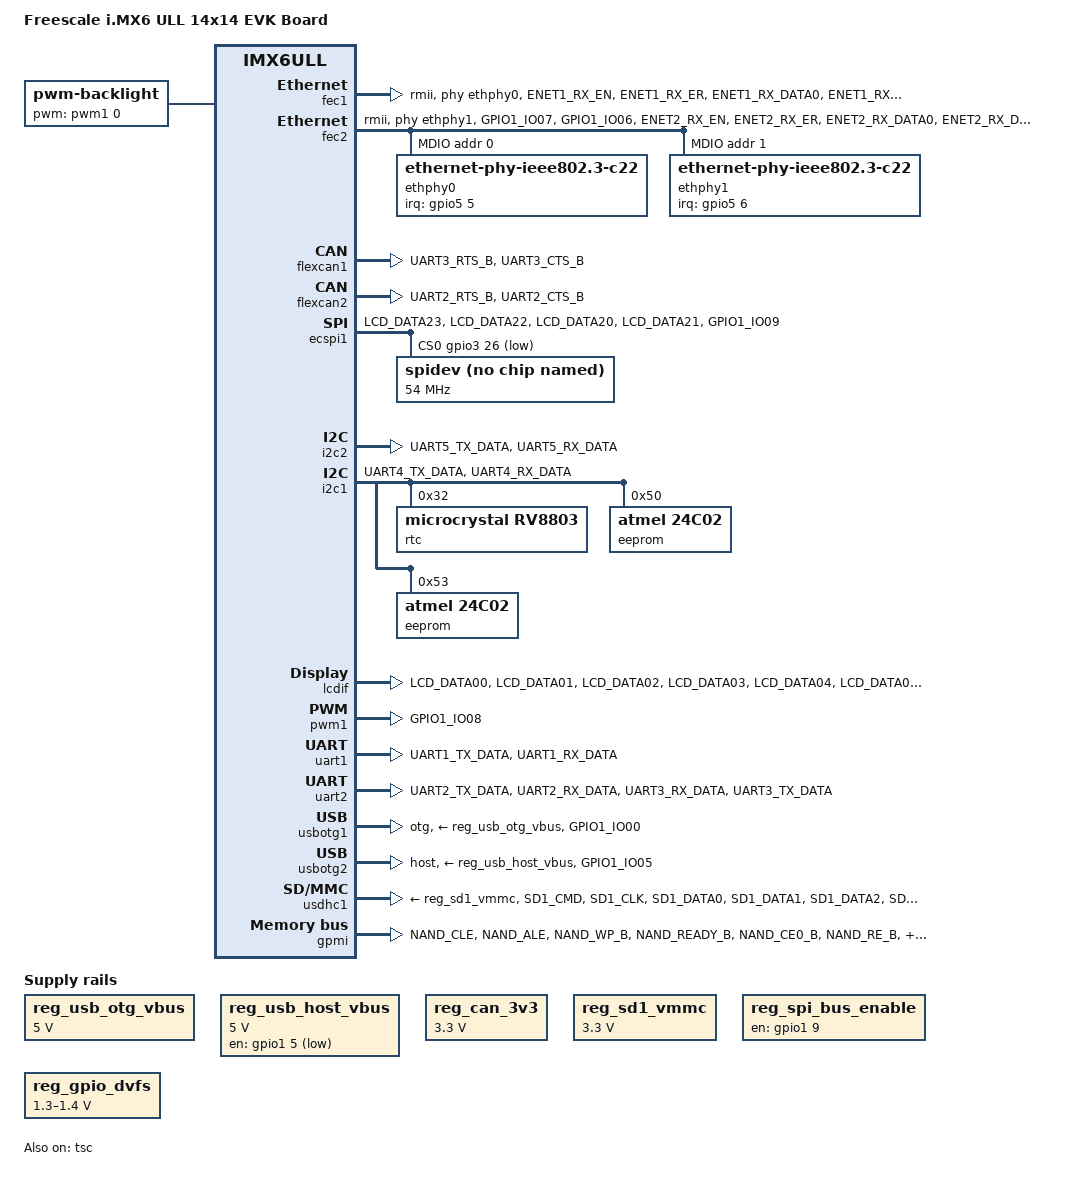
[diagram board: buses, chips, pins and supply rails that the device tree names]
/*
 * Copyright (C) 2016 Freescale Semiconductor, Inc.
 *
 * This program is free software; you can redistribute it and/or modify
 * it under the terms of the GNU General Public License version 2 as
 * published by the Free Software Foundation.
 */

/dts-v1/;

#include <dt-bindings/input/input.h>
#include "imx6ull.dtsi"

/ {
	model = "Freescale i.MX6 ULL 14x14 EVK Board";
	compatible = "fsl,imx6ull-14x14-evk", "fsl,imx6ull";

	chosen {
		stdout-path = &uart1;
	};

	memory {
		reg = <0 0>;							// Will be filled by uboot
	};

	reserved-memory {
		#address-cells = <1>;
		#size-cells = <1>;
		ranges;

		linux,cma {
			compatible = "shared-dma-pool";
			reusable;
			size = <0x14000000>;
			linux,cma-default;
		};
	};

	backlight {
		compatible = "pwm-backlight";
		pwms = <&pwm1 0 5000000>;
		brightness-levels = <0 4 8 16 32 64 128 255>;
		default-brightness-level = <6>;
		status = "okay";
	};

	regulators {
		compatible = "simple-bus";
		#address-cells = <1>;
		#size-cells = <0>;

		reg_usb_otg_vbus: usb_otg_vbus {
			compatible = "regulator-fixed";
			regulator-name = "usb_otg_vbus";
			regulator-min-microvolt = <5000000>;
			regulator-max-microvolt = <5000000>;
		};

		reg_usb_host_vbus: usb_host_vbus {
			compatible = "regulator-fixed";
			regulator-name = "usb_host_vbus";
			regulator-min-microvolt = <5000000>;
			regulator-max-microvolt = <5000000>;
			gpio = <&gpio1 5 GPIO_ACTIVE_LOW>;
		};

		reg_can_3v3: regulator@0 {
			compatible = "regulator-fixed";
			reg = <0>;
			regulator-name = "can-3v3";
			regulator-min-microvolt = <3300000>;
			regulator-max-microvolt = <3300000>;
		};

		reg_sd1_vmmc: regulator@1 {
			compatible = "regulator-fixed";
			regulator-name = "VSD_3V3";
			regulator-min-microvolt = <3300000>;
			regulator-max-microvolt = <3300000>;
		//	gpio = <&gpio1 9 GPIO_ACTIVE_HIGH>;
		//	enable-active-high;
		};

		reg_spi_bus_enable: spi_bus_enable {				// Pin SPI_BOOT_FLASH_EN (1.9) = HIGH means
			compatible = "regulator-fixed";				// SPI boot flash => non-accessible
			regulator-name = "spi_bus_enable";			// SPI bus        =>     accessible
			gpio = <&gpio1 9 GPIO_ACTIVE_HIGH>;
			enable-active-high;
			regulator-always-on;
		};

/*		reg_boot_flash_enable: spi_boot_flash_enable {			// Pin SPI_BOOT_FLASH_EN (1.9) = LOW means
			compatible = "regulator-fixed";				// SPI boot flash =>     accessible
			regulator-name = "spi_boot_flash_enable";		// SPI bus        => non-accessible
			gpio = <&gpio1 9 GPIO_ACTIVE_LOW>;
			regulator-always-on;
		};*/

		reg_gpio_dvfs: regulator-gpio {
			compatible = "regulator-gpio";
			pinctrl-names = "default";
			pinctrl-0 = <&pinctrl_dvfs>;
			regulator-min-microvolt = <1300000>;
			regulator-max-microvolt = <1400000>;
			regulator-name = "gpio_dvfs";
			regulator-type = "voltage";
			gpios = <&gpio5 3 GPIO_ACTIVE_HIGH>;
			states = <1300000 0x1 1400000 0x0>;
		};
	};
};

&cpu0 {
	arm-supply = <&reg_arm>;
	soc-supply = <&reg_soc>;
	dc-supply = <&reg_gpio_dvfs>;
};

&gpio1 {		/* 0      1      2      3      4      5      6      7  */
	gpio-line-names =  ""   , ""   , ""   , ""   , ""   , ""   , ""   , ""   ,
			/* 8      9      10     11     12     13     14     15 */
			   ""   , ""   , ""   , "INT", ""   , ""   , ""   , ""   ,
			/* 16     17     18     19     20     21     22     23 */
			   ""   , ""   , "I"  , ""   , ""   , ""   , ""   , ""   ,
			/* 24     25     26     27     28     29     30     31 */
			   ""   , ""   , ""   , ""   , ""   , ""   , ""   , ""   ;
};

&gpio2 {		/* 0      1      2      3      4      5      6      7  */
	gpio-line-names =  ""   , ""   , ""   , ""   , ""   , ""   , ""   , ""   ,
			/* 8      9      10     11     12     13     14     15 */
			   ""   , ""   , ""   , ""   , ""   , ""   , ""   , ""   ,
			/* 16     17     18     19     20     21     22     23 */
			   ""   , ""   , ""   , ""   , ""   , ""   , ""   , ""   ,
			/* 24     25     26     27     28     29     30     31 */
			   ""   , ""   , ""   , ""   , ""   , ""   , ""   , ""   ;
};

&gpio3 {		/* 0      1      2      3      4      5      6      7  */
	gpio-line-names =  ""   , ""   , ""   , ""   , ""   , ""   , ""   , ""   ,
			/* 8      9      10     11     12     13     14     15 */
			   ""   , ""   , ""   , ""   , ""   , ""   , ""   , ""   ,
			/* 16     17     18     19     20     21     22     23 */
			   ""   , ""   , ""   , ""   , ""   , ""   , ""   , ""   ,
			/* 24     25     26     27     28     29     30     31 */
			   ""   , ""   , ""   , ""   , ""   , ""   , ""   , ""   ;
};

&gpio4 {		/* 0      1      2      3      4      5      6      7  */
	gpio-line-names =  ""   , ""   , ""   , ""   , ""   , ""   , "",    ""   ,
			/* 8      9      10     11     12     13     14     15 */
			   ""   , ""   , ""   , ""   , ""   , ""   , ""   , ""   ,
			/* 16     17     18     19     20     21     22     23 */
			   ""   , "L"  , "K"  , "M"  , "J"  , "U"  , "T"  , "S"  ,
			/* 24     25     26     27     28     29     30     31 */
			   "R"  , "Q"  , "P"  , "O"  , "N"  , ""   , ""   , ""   ;
};

&gpio5 {		/* 0      1      2      3      4      5      6      7  */
	gpio-line-names =  "A"  , "B"  , "C"  , "D"  , "E"  , ""   , ""   , "F"  ,
			/* 8      9      10     11     12     13     14     15 */
			   "G"  , "H"  , ""   , ""   , ""   , ""   , ""   , ""   ,
			/* 16     17     18     19     20     21     22     23 */
			   ""   , ""   , ""   , ""   , ""   , ""   , ""   , ""   ,
			/* 24     25     26     27     28     29     30     31 */
			   ""   , ""   , ""   , ""   , ""   , ""   , ""   , ""   ;
};

&clks {
	assigned-clocks = <&clks IMX6UL_CLK_PLL4_AUDIO_DIV>;
	assigned-clock-rates = <786432000>;
};

&fec1 {
	pinctrl-names = "default";
	pinctrl-0 = <&pinctrl_enet1>;
	phy-mode = "rmii";
	phy-reset-gpios = <&gpio3 23 GPIO_ACTIVE_LOW>;
	phy-reset-duration = <1>;
	phy-reset-post-delay = <10>;
	phy-handle = <&ethphy0>;
	status = "okay";
};

&fec2 {
	pinctrl-names = "default";
	pinctrl-0 = <&pinctrl_enet2>;
	phy-mode = "rmii";
	phy-reset-gpios = <&gpio3 24 GPIO_ACTIVE_LOW>;
	phy-reset-duration = <1>;
	phy-reset-post-delay = <10>;
	phy-handle = <&ethphy1>;
	status = "okay";

	mdio {
		#address-cells = <1>;
		#size-cells = <0>;

		ethphy0: ethernet-phy@0 {
			pinctrl-names = "default";
			pinctrl-0 = <&pinctrl_enetphy0>;
			compatible = "ethernet-phy-ieee802.3-c22";
			reg = <0>;
			clocks = <&clks IMX6UL_CLK_ENET_REF>;
			clock-names = "rmii-ref";
			max-speed = <100>;
			interrupt-parent = <&gpio5>;
			interrupts = <5 IRQ_TYPE_EDGE_FALLING>;
			status = "okay";
		};

		ethphy1: ethernet-phy@1 {
			pinctrl-names = "default";
			pinctrl-0 = <&pinctrl_enetphy1>;
			compatible = "ethernet-phy-ieee802.3-c22";
			reg = <1>;
			clocks = <&clks IMX6UL_CLK_ENET2_REF>;
			clock-names = "rmii-ref";
			interrupt-parent = <&gpio5>;
			interrupts = <6 IRQ_TYPE_EDGE_FALLING>;
			max-speed = <100>;
			status = "okay";
		};
	};
};

&flexcan1 {
	pinctrl-names = "default";
	pinctrl-0 = <&pinctrl_flexcan1>;
	status = "okay";
};

&flexcan2 {
	pinctrl-names = "default";
	pinctrl-0 = <&pinctrl_flexcan2>;
	status = "okay";
};

&gpc {
	fsl,cpu_pupscr_sw2iso = <0x1>;
	fsl,cpu_pupscr_sw = <0x0>;
	fsl,cpu_pdnscr_iso2sw = <0x1>;
	fsl,cpu_pdnscr_iso = <0x1>;
	fsl,ldo-bypass = <0>; /* DCDC, ldo-enable */
};

&ecspi1 {									// ********** SPI 1 **********
	fsl,spi-num-chipselects = <1>;
	cs-gpios = <&gpio3 26 1>;
	pinctrl-names = "default";
	pinctrl-0 = <&pinctrl_ecspi1>;
	power-supply = <&reg_spi_bus_enable>;
	status = "okay";

	spidev@0 {								// ==> /dev/spidev0.0
		compatible =  "spidev", "fsl,ecspi";
		reg = <0>;							// SS0
		spi-max-frequency = <54000000>;
		spi-cpha;							// Shifted clock phase (CPHA) mode
		spi-cpol;							// Inverse clock polarity (CPOL) mode
	};
};

/*
&ecspi1 {									// ********** SPI 1 **********
	fsl,spi-num-chipselects = <1>;
	cs-gpios = <&gpio4 26 1>;
	pinctrl-names = "default";
	pinctrl-0 = <&pinctrl_ecspi1_boot_flash>;
	power-supply = <&reg_boot_flash_enable>;
	status = "okay";

	w25q16@0 {
		#address-cells = <1>;
		#size-cells = <1>;
		compatible = "winbond,w25q16", "jedec,spi-nor";
		spi-max-frequency = <50000000>;
		reg = <0>;
		m25p,fast-read;
		label = "spi_boot_flash";
	};
};*/

// DHCOM I2C1
&i2c2 {
	clock_frequency = <100000>;
	pinctrl-names = "default";
	pinctrl-0 = <&pinctrl_i2c2>;
	status = "okay";

	gpio_spi: gpio_spi@0 {
		compatible = "fairchild,74hc595";
		gpio-controller;
		#gpio-cells = <2>;
		reg = <0>;
		registers-number = <1>;
		registers-default = /bits/ 8 <0x57>;
		spi-max-frequency = <100000>;
		status = "disabled";
	};
};

// DHCOM I2C2
&i2c1 {
	clock_frequency = <100000>;
	pinctrl-names = "default";
	pinctrl-0 = <&pinctrl_i2c1>;
	status = "okay";

	rtc: rtc@32 {
		compatible = "microcrystal,rv8803";
		reg = <0x32>;
	};

	eeprom@50 {								// EEPROM Microchip 24AA025E48T-I/OT
		compatible = "atmel,24c02";
		reg = <0x50>;
		pagesize = <16>;
	};

	eeprom@53 {								// EEPROM Microchip 24AA025E48T-I/OT
		compatible = "atmel,24c02";
		reg = <0x53>;
		pagesize = <16>;
	};

/*	pmic@58 {
		compatible = "dlg,da9061";
		pinctrl-names = "default";
		pinctrl-0 = <&pinctrl_pmic>;
		reg = <0x58>;
		interrupt-parent = <&gpio5>;
		interrupts = <9 IRQ_TYPE_LEVEL_LOW>;
		interrupt-controller;

		onkey {
			compatible = "dlg,da9061-onkey", "dlg,da9062-onkey";
			dlg,disable-key-power;
		};

		watchdog {
			compatible = "dlg,da9061-watchdog", "dlg,da9062-watchdog";
		};

		thermal {
			compatible = "dlg,da9061-thermal", "dlg,da9062-thermal";
			polling-delay-passive = <3000>;
		};

		regulators {
			vdd_soc_in_1v4: buck1 {
				regulator-name = "vdd_soc_in_1v4";
				regulator-min-microvolt = <730000>;
				regulator-max-microvolt = <1380000>;
				regulator-always-on;
			};

			vcc_3v3: buck2 {
				regulator-name = "vcc_3v3";
				regulator-min-microvolt = <3300000>;
				regulator-max-microvolt = <3300000>;
				regulator-always-on;
			};

			vcc_ddr_1v35: buck3 {
				regulator-name = "vcc_ddr_1v35";
				regulator-min-microvolt = <1350000>;
				regulator-max-microvolt = <1350000>;
				regulator-always-on;
			};

			vcc_2v5: ldo1 {
				regulator-name = "vcc_2v5";
				regulator-min-microvolt = <2500000>;
				regulator-max-microvolt = <2500000>;
				regulator-always-on;
			};

			vdd_snvs_in_3v3: ldo2 {
				regulator-name = "vdd_snvs_in_3v3";
				regulator-min-microvolt = <3300000>;
				regulator-max-microvolt = <3300000>;
				regulator-always-on;
			};

			vcc_1v8: ldo3 {
				regulator-name = "vcc_1v8";
				regulator-min-microvolt = <1800000>;
				regulator-max-microvolt = <1800000>;
			};

			vcc_1v2: ldo4 {
				regulator-name = "vcc_1v2";
				regulator-min-microvolt = <1200000>;
				regulator-max-microvolt = <1200000>;
			};
		};
	};*/
};

&iomuxc {
	pinctrl-names = "default";
	pinctrl-0 = <&pinctrl_hog_1>;
	imx6ul-evk {
		pinctrl_hog_1: hoggrp-1 {
			fsl,pins = <
				MX6UL_PAD_UART1_CTS_B__GPIO1_IO18	0x400120b0 /* GPIO I */
	//			MX6UL_PAD_UART1_RTS_B__GPIO1_IO19	0x120B0 /* SD1 CD */
	//			MX6UL_PAD_GPIO1_IO05__USDHC1_VSELECT	0x17059 /* SD1 VSELECT */
	//			MX6UL_PAD_GPIO1_IO09__GPIO1_IO09        0x17059 /* SD1 RESET */
			>;
		};

		pinctrl_csi1: csi1grp {
			fsl,pins = <
				MX6UL_PAD_CSI_MCLK__CSI_MCLK		0x1b088
				MX6UL_PAD_CSI_PIXCLK__CSI_PIXCLK	0x1b088
				MX6UL_PAD_CSI_VSYNC__CSI_VSYNC		0x1b088
				MX6UL_PAD_CSI_HSYNC__CSI_HSYNC		0x1b088
				MX6UL_PAD_CSI_DATA00__CSI_DATA02	0x1b088
				MX6UL_PAD_CSI_DATA01__CSI_DATA03	0x1b088
				MX6UL_PAD_CSI_DATA02__CSI_DATA04	0x1b088
				MX6UL_PAD_CSI_DATA03__CSI_DATA05	0x1b088
				MX6UL_PAD_CSI_DATA04__CSI_DATA06	0x1b088
				MX6UL_PAD_CSI_DATA05__CSI_DATA07	0x1b088
				MX6UL_PAD_CSI_DATA06__CSI_DATA08	0x1b088
				MX6UL_PAD_CSI_DATA07__CSI_DATA09	0x1b088
			>;
		};

		pinctrl_enet1: enet1grp {
			fsl,pins = <
			//	MX6UL_PAD_GPIO1_IO07__ENET1_MDC		0x1b0b0
			//	MX6UL_PAD_GPIO1_IO06__ENET1_MDIO	0x1b0b0
				MX6UL_PAD_ENET1_RX_EN__ENET1_RX_EN	0x1b0b0
				MX6UL_PAD_ENET1_RX_ER__ENET1_RX_ER	0x1b0b0
				MX6UL_PAD_ENET1_RX_DATA0__ENET1_RDATA00	0x1b0b0
				MX6UL_PAD_ENET1_RX_DATA1__ENET1_RDATA01	0x1b0b0
				MX6UL_PAD_ENET1_TX_EN__ENET1_TX_EN	0x1b0b0
				MX6UL_PAD_ENET1_TX_DATA0__ENET1_TDATA00	0x1b0b0
				MX6UL_PAD_ENET1_TX_DATA1__ENET1_TDATA01	0x1b0b0
				MX6UL_PAD_ENET1_TX_CLK__ENET1_REF_CLK1	0x4001b031
				/* SMSC PHY Reset */
				MX6UL_PAD_LCD_DATA18__GPIO3_IO23	0xb0
			>;
		};

		pinctrl_enetphy0: enetphy0grp {
			fsl,pins = <
				/* SMSC PHY INT */
				MX6UL_PAD_SNVS_TAMPER5__GPIO5_IO05	0xb0
			>;
		};

		pinctrl_enet2: enet2grp {
			fsl,pins = <
				MX6UL_PAD_GPIO1_IO07__ENET2_MDC		0x1b0b0
				MX6UL_PAD_GPIO1_IO06__ENET2_MDIO	0x1b0b0
				MX6UL_PAD_ENET2_RX_EN__ENET2_RX_EN	0x1b0b0
				MX6UL_PAD_ENET2_RX_ER__ENET2_RX_ER	0x1b0b0
				MX6UL_PAD_ENET2_RX_DATA0__ENET2_RDATA00	0x1b0b0
				MX6UL_PAD_ENET2_RX_DATA1__ENET2_RDATA01	0x1b0b0
				MX6UL_PAD_ENET2_TX_EN__ENET2_TX_EN	0x1b0b0
				MX6UL_PAD_ENET2_TX_DATA0__ENET2_TDATA00	0x1b0b0
				MX6UL_PAD_ENET2_TX_DATA1__ENET2_TDATA01	0x1b0b0
				MX6UL_PAD_ENET2_TX_CLK__ENET2_REF_CLK2	0x4001b031
				/* SMSC PHY Reset */
				MX6UL_PAD_LCD_DATA19__GPIO3_IO24	0xb0
			>;
		};

		pinctrl_enetphy1: enetphy1grp {
			fsl,pins = <
				/* SMSC PHY INT */
				MX6UL_PAD_SNVS_TAMPER6__GPIO5_IO06	0xb0
			>;
		};

		pinctrl_flexcan1: flexcan1grp{
			fsl,pins = <
				MX6UL_PAD_UART3_RTS_B__FLEXCAN1_RX	0x1b020
				MX6UL_PAD_UART3_CTS_B__FLEXCAN1_TX	0x1b020
			>;
		};

		pinctrl_flexcan2: flexcan2grp{
			fsl,pins = <
				MX6UL_PAD_UART2_RTS_B__FLEXCAN2_RX	0x1b020
				MX6UL_PAD_UART2_CTS_B__FLEXCAN2_TX	0x1b020
			>;
		};

		pinctrl_i2c1: i2c1grp {
			fsl,pins = <
				MX6UL_PAD_UART4_TX_DATA__I2C1_SCL 0x4001b8b0
				MX6UL_PAD_UART4_RX_DATA__I2C1_SDA 0x4001b8b0
			>;
		};

		pinctrl_i2c2: i2c2grp {
			fsl,pins = <
				MX6UL_PAD_UART5_TX_DATA__I2C2_SCL 0x4001b8b0
				MX6UL_PAD_UART5_RX_DATA__I2C2_SDA 0x4001b8b0
			>;
		};

		pinctrl_lcdif_dat: lcdifdatgrp {
			fsl,pins = <
				MX6UL_PAD_LCD_DATA00__LCDIF_DATA00  0x79
				MX6UL_PAD_LCD_DATA01__LCDIF_DATA01  0x79
				MX6UL_PAD_LCD_DATA02__LCDIF_DATA02  0x79
				MX6UL_PAD_LCD_DATA03__LCDIF_DATA03  0x79
				MX6UL_PAD_LCD_DATA04__LCDIF_DATA04  0x79
				MX6UL_PAD_LCD_DATA05__LCDIF_DATA05  0x79
				MX6UL_PAD_LCD_DATA06__LCDIF_DATA06  0x79
				MX6UL_PAD_LCD_DATA07__LCDIF_DATA07  0x79
				MX6UL_PAD_LCD_DATA08__LCDIF_DATA08  0x79
				MX6UL_PAD_LCD_DATA09__LCDIF_DATA09  0x79
				MX6UL_PAD_LCD_DATA10__LCDIF_DATA10  0x79
				MX6UL_PAD_LCD_DATA11__LCDIF_DATA11  0x79
				MX6UL_PAD_LCD_DATA12__LCDIF_DATA12  0x79
				MX6UL_PAD_LCD_DATA13__LCDIF_DATA13  0x79
				MX6UL_PAD_LCD_DATA14__LCDIF_DATA14  0x79
				MX6UL_PAD_LCD_DATA15__LCDIF_DATA15  0x79
				MX6UL_PAD_LCD_DATA16__LCDIF_DATA16  0x79
				MX6UL_PAD_LCD_DATA17__LCDIF_DATA17  0x79
			//	MX6UL_PAD_LCD_DATA18__LCDIF_DATA18  0x79
			//	MX6UL_PAD_LCD_DATA19__LCDIF_DATA19  0x79
			//	MX6UL_PAD_LCD_DATA20__LCDIF_DATA20  0x79
			//	MX6UL_PAD_LCD_DATA21__LCDIF_DATA21  0x79
			//	MX6UL_PAD_LCD_DATA22__LCDIF_DATA22  0x79
			//	MX6UL_PAD_LCD_DATA23__LCDIF_DATA23  0x79
			>;
		};

		pinctrl_lcdif_ctrl: lcdifctrlgrp {
			fsl,pins = <
				MX6UL_PAD_LCD_CLK__LCDIF_CLK	    0x79
				MX6UL_PAD_LCD_ENABLE__LCDIF_ENABLE  0x79
				MX6UL_PAD_LCD_HSYNC__LCDIF_HSYNC    0x79
				MX6UL_PAD_LCD_VSYNC__LCDIF_VSYNC    0x79
				/* used for lcd reset */
				MX6UL_PAD_LCD_RESET__LCDIF_RESET    0x79
			>;
		};

		pinctrl_ecspi1: ecspi1_grp {
			fsl,pins = <
				MX6UL_PAD_LCD_DATA23__ECSPI1_MISO    0x100b1
				MX6UL_PAD_LCD_DATA22__ECSPI1_MOSI    0x100b1
				MX6UL_PAD_LCD_DATA20__ECSPI1_SCLK    0x100b1
				MX6UL_PAD_LCD_DATA21__GPIO3_IO26     0x1b0b0	// SS0
				MX6UL_PAD_GPIO1_IO09__GPIO1_IO09     0x4001b0b0	// SPI_BOOT_FLASH_EN
			>;
		};

		pinctrl_ecspi1_boot_flash: ecspi1bootflash_grp {
			fsl,pins = <
				MX6UL_PAD_CSI_DATA07__ECSPI1_MISO    0x100b1
				MX6UL_PAD_CSI_DATA06__ECSPI1_MOSI    0x100b1
				MX6UL_PAD_CSI_DATA04__ECSPI1_SCLK    0x100b1
				MX6UL_PAD_CSI_DATA05__GPIO4_IO26     0x1b0b0	// SS0
				MX6UL_PAD_GPIO1_IO09__GPIO1_IO09     0x4001b0b0	// SPI_BOOT_FLASH_EN
			>;
		};

		pinctrl_ecspi2: ecspi2_grp {					// ATTENTION: ENET2 uses the same pins!
			fsl,pins = <
				MX6UL_PAD_ENET2_TX_CLK__ECSPI4_MISO   0x100b1
				MX6UL_PAD_ENET2_TX_EN__ECSPI4_MOSI    0x100b1
				MX6UL_PAD_ENET2_TX_DATA1__ECSPI4_SCLK 0x100b1
				MX6UL_PAD_ENET2_RX_ER__GPIO2_IO15     0x1b0b0	// SS0
			>;
		};

		pinctrl_pmic: pmicgrp {
			fsl,pins = <
				MX6UL_PAD_SNVS_TAMPER9__GPIO5_IO09    0x1b0b0
			>;
		};

		pinctrl_gpmi_nand: gpmi-nand {
			fsl,pins = <
				MX6UL_PAD_NAND_CLE__RAWNAND_CLE         0xb0b1
				MX6UL_PAD_NAND_ALE__RAWNAND_ALE         0xb0b1
				MX6UL_PAD_NAND_WP_B__RAWNAND_WP_B       0xb0b1
				MX6UL_PAD_NAND_READY_B__RAWNAND_READY_B 0xb000
				MX6UL_PAD_NAND_CE0_B__RAWNAND_CE0_B     0xb0b1
				MX6UL_PAD_NAND_RE_B__RAWNAND_RE_B       0xb0b1
				MX6UL_PAD_NAND_WE_B__RAWNAND_WE_B       0xb0b1
				MX6UL_PAD_NAND_DATA00__RAWNAND_DATA00   0xb0b1
				MX6UL_PAD_NAND_DATA01__RAWNAND_DATA01   0xb0b1
				MX6UL_PAD_NAND_DATA02__RAWNAND_DATA02   0xb0b1
				MX6UL_PAD_NAND_DATA03__RAWNAND_DATA03   0xb0b1
				MX6UL_PAD_NAND_DATA04__RAWNAND_DATA04   0xb0b1
				MX6UL_PAD_NAND_DATA05__RAWNAND_DATA05   0xb0b1
				MX6UL_PAD_NAND_DATA06__RAWNAND_DATA06   0xb0b1
				MX6UL_PAD_NAND_DATA07__RAWNAND_DATA07   0xb0b1
			>;
		};

		pinctrl_pwm1: pwm1grp {
			fsl,pins = <
				MX6UL_PAD_GPIO1_IO08__PWM1_OUT   0x110b0
			>;
		};

		pinctrl_qspi: qspigrp {
			fsl,pins = <
				MX6UL_PAD_NAND_WP_B__QSPI_A_SCLK      0x70a1
				MX6UL_PAD_NAND_READY_B__QSPI_A_DATA00 0x70a1
				MX6UL_PAD_NAND_CE0_B__QSPI_A_DATA01   0x70a1
				MX6UL_PAD_NAND_CE1_B__QSPI_A_DATA02   0x70a1
				MX6UL_PAD_NAND_CLE__QSPI_A_DATA03     0x70a1
				MX6UL_PAD_NAND_DQS__QSPI_A_SS0_B      0x70a1
			>;
		};

		pinctrl_sai2: sai2grp {
			fsl,pins = <
				MX6UL_PAD_JTAG_TDI__SAI2_TX_BCLK	0x17088
				MX6UL_PAD_JTAG_TDO__SAI2_TX_SYNC	0x17088
				MX6UL_PAD_JTAG_TRST_B__SAI2_TX_DATA	0x11088
				MX6UL_PAD_JTAG_TCK__SAI2_RX_DATA	0x11088
				MX6UL_PAD_JTAG_TMS__SAI2_MCLK		0x17088
			>;
		};

		pinctrl_tsc: tscgrp {
			fsl,pins = <
				MX6UL_PAD_GPIO1_IO01__GPIO1_IO01	0xb0
				MX6UL_PAD_GPIO1_IO02__GPIO1_IO02	0xb0
				MX6UL_PAD_GPIO1_IO03__GPIO1_IO03	0xb0
				MX6UL_PAD_GPIO1_IO04__GPIO1_IO04	0xb0
			>;
		};

		pinctrl_uart1: uart1grp {
			fsl,pins = <
				MX6UL_PAD_UART1_TX_DATA__UART1_DCE_TX 0x1b0b1
				MX6UL_PAD_UART1_RX_DATA__UART1_DCE_RX 0x1b0b1
			>;
		};

		pinctrl_uart2: uart2grp {
			fsl,pins = <
				MX6UL_PAD_UART2_TX_DATA__UART2_DCE_TX	0x1b0b1
				MX6UL_PAD_UART2_RX_DATA__UART2_DCE_RX	0x1b0b1
				MX6UL_PAD_UART3_RX_DATA__UART2_DCE_RTS	0x1b0b1
				MX6UL_PAD_UART3_TX_DATA__UART2_DCE_CTS	0x1b0b1
			>;
		};

		pinctrl_uart2dte: uart2dtegrp {
			fsl,pins = <
				MX6UL_PAD_UART2_TX_DATA__UART2_DTE_RX	0x1b0b1
				MX6UL_PAD_UART2_RX_DATA__UART2_DTE_TX	0x1b0b1
				MX6UL_PAD_UART3_RX_DATA__UART2_DTE_CTS	0x1b0b1
				MX6UL_PAD_UART3_TX_DATA__UART2_DTE_RTS	0x1b0b1
			>;
		};

		pinctrl_usdhc1: usdhc1grp {
			fsl,pins = <
				MX6UL_PAD_SD1_CMD__USDHC1_CMD     0x17059
				MX6UL_PAD_SD1_CLK__USDHC1_CLK     0x10071
				MX6UL_PAD_SD1_DATA0__USDHC1_DATA0 0x17059
				MX6UL_PAD_SD1_DATA1__USDHC1_DATA1 0x17059
				MX6UL_PAD_SD1_DATA2__USDHC1_DATA2 0x17059
				MX6UL_PAD_SD1_DATA3__USDHC1_DATA3 0x17059
				MX6UL_PAD_UART1_RTS_B__GPIO1_IO19 0x120B0 /* SD1 CD */
			>;
		};

		pinctrl_usdhc1_100mhz: usdhc1grp100mhz {
			fsl,pins = <
				MX6UL_PAD_SD1_CMD__USDHC1_CMD     0x170b9
				MX6UL_PAD_SD1_CLK__USDHC1_CLK     0x100b9
				MX6UL_PAD_SD1_DATA0__USDHC1_DATA0 0x170b9
				MX6UL_PAD_SD1_DATA1__USDHC1_DATA1 0x170b9
				MX6UL_PAD_SD1_DATA2__USDHC1_DATA2 0x170b9
				MX6UL_PAD_SD1_DATA3__USDHC1_DATA3 0x170b9
				MX6UL_PAD_UART1_RTS_B__GPIO1_IO19 0x120B0 /* SD1 CD */
			>;
		};

		pinctrl_usdhc1_200mhz: usdhc1grp200mhz {
			fsl,pins = <
				MX6UL_PAD_SD1_CMD__USDHC1_CMD     0x170f9
				MX6UL_PAD_SD1_CLK__USDHC1_CLK     0x100f9
				MX6UL_PAD_SD1_DATA0__USDHC1_DATA0 0x170f9
				MX6UL_PAD_SD1_DATA1__USDHC1_DATA1 0x170f9
				MX6UL_PAD_SD1_DATA2__USDHC1_DATA2 0x170f9
				MX6UL_PAD_SD1_DATA3__USDHC1_DATA3 0x170f9
				MX6UL_PAD_UART1_RTS_B__GPIO1_IO19 0x120B0 /* SD1 CD */
			>;
		};

		pinctrl_usdhc2: usdhc2grp {
			fsl,pins = <
				MX6UL_PAD_NAND_RE_B__USDHC2_CLK     0x10069
				MX6UL_PAD_NAND_WE_B__USDHC2_CMD     0x17059
				MX6UL_PAD_NAND_DATA00__USDHC2_DATA0 0x17059
				MX6UL_PAD_NAND_DATA01__USDHC2_DATA1 0x17059
				MX6UL_PAD_NAND_DATA02__USDHC2_DATA2 0x17059
				MX6UL_PAD_NAND_DATA03__USDHC2_DATA3 0x17059
			>;
		};

		pinctrl_usdhc2_8bit: usdhc2grp_8bit {
			fsl,pins = <
				MX6UL_PAD_NAND_RE_B__USDHC2_CLK     0x10069
				MX6UL_PAD_NAND_WE_B__USDHC2_CMD     0x17059
				MX6UL_PAD_NAND_DATA00__USDHC2_DATA0 0x17059
				MX6UL_PAD_NAND_DATA01__USDHC2_DATA1 0x17059
				MX6UL_PAD_NAND_DATA02__USDHC2_DATA2 0x17059
				MX6UL_PAD_NAND_DATA03__USDHC2_DATA3 0x17059
				MX6UL_PAD_NAND_DATA04__USDHC2_DATA4 0x17059
				MX6UL_PAD_NAND_DATA05__USDHC2_DATA5 0x17059
				MX6UL_PAD_NAND_DATA06__USDHC2_DATA6 0x17059
				MX6UL_PAD_NAND_DATA07__USDHC2_DATA7 0x17059
			>;
		};

		pinctrl_usdhc2_8bit_100mhz: usdhc2grp_8bit_100mhz {
			fsl,pins = <
				MX6UL_PAD_NAND_RE_B__USDHC2_CLK     0x100b9
				MX6UL_PAD_NAND_WE_B__USDHC2_CMD     0x170b9
				MX6UL_PAD_NAND_DATA00__USDHC2_DATA0 0x170b9
				MX6UL_PAD_NAND_DATA01__USDHC2_DATA1 0x170b9
				MX6UL_PAD_NAND_DATA02__USDHC2_DATA2 0x170b9
				MX6UL_PAD_NAND_DATA03__USDHC2_DATA3 0x170b9
				MX6UL_PAD_NAND_DATA04__USDHC2_DATA4 0x170b9
				MX6UL_PAD_NAND_DATA05__USDHC2_DATA5 0x170b9
				MX6UL_PAD_NAND_DATA06__USDHC2_DATA6 0x170b9
				MX6UL_PAD_NAND_DATA07__USDHC2_DATA7 0x170b9
			>;
		};

		pinctrl_usdhc2_8bit_200mhz: usdhc2grp_8bit_200mhz {
			fsl,pins = <
				MX6UL_PAD_NAND_RE_B__USDHC2_CLK     0x100f9
				MX6UL_PAD_NAND_WE_B__USDHC2_CMD     0x170f9
				MX6UL_PAD_NAND_DATA00__USDHC2_DATA0 0x170f9
				MX6UL_PAD_NAND_DATA01__USDHC2_DATA1 0x170f9
				MX6UL_PAD_NAND_DATA02__USDHC2_DATA2 0x170f9
				MX6UL_PAD_NAND_DATA03__USDHC2_DATA3 0x170f9
				MX6UL_PAD_NAND_DATA04__USDHC2_DATA4 0x170f9
				MX6UL_PAD_NAND_DATA05__USDHC2_DATA5 0x170f9
				MX6UL_PAD_NAND_DATA06__USDHC2_DATA6 0x170f9
				MX6UL_PAD_NAND_DATA07__USDHC2_DATA7 0x170f9
			>;
		};

		pinctrl_wdog: wdoggrp {
			fsl,pins = <
				MX6UL_PAD_LCD_RESET__WDOG1_WDOG_ANY    0x30b0
			>;
		};

		pinctrl_usbotg: usbotggrp {
			fsl,pins = <
				MX6UL_PAD_GPIO1_IO00__ANATOP_OTG1_ID   0x17059
			>;
		};

		pinctrl_usbhost: usbhostgrp {
			fsl,pins = <
				MX6UL_PAD_GPIO1_IO05__GPIO1_IO05       0x120B0
			>;
		};
	};
};

&iomuxc_snvs {
	pinctrl-names = "default_snvs";
        pinctrl-0 = <&pinctrl_hog_2>;
        imx6ul-evk {
		pinctrl_hog_2: hoggrp-2 {
                        fsl,pins = <
                                MX6ULL_PAD_SNVS_TAMPER0__GPIO5_IO00      0x80000000
                        >;
                };

		pinctrl_dvfs: dvfsgrp {
                        fsl,pins = <
                                MX6ULL_PAD_SNVS_TAMPER3__GPIO5_IO03      0x79
                        >;
                };
		
		pinctrl_lcdif_reset: lcdifresetgrp {
                        fsl,pins = <
                                /* used for lcd reset */
                                MX6ULL_PAD_SNVS_TAMPER9__GPIO5_IO09  0x79
                        >;
                };

		pinctrl_spi4: spi4grp {
                        fsl,pins = <
                                MX6ULL_PAD_BOOT_MODE0__GPIO5_IO10        0x70a1
                                MX6ULL_PAD_BOOT_MODE1__GPIO5_IO11        0x70a1
                                MX6ULL_PAD_SNVS_TAMPER7__GPIO5_IO07      0x70a1
                                MX6ULL_PAD_SNVS_TAMPER8__GPIO5_IO08      0x80000000
                        >;
                };

                pinctrl_sai2_hp_det_b: sai2_hp_det_grp {
                        fsl,pins = <
                                MX6ULL_PAD_SNVS_TAMPER4__GPIO5_IO04   0x17059
                        >;
                };
        };
};


&lcdif {
	pinctrl-names = "default";
	pinctrl-0 = <&pinctrl_lcdif_dat
		     &pinctrl_lcdif_ctrl
		     &pinctrl_lcdif_reset>;
	display = <&display0>;
	status = "okay";

	display0: display {
		bits-per-pixel = <16>;
		bus-width = <24>;

		display-timings {
			native-mode = <&timing0>;
			timing0: timing0 {
			clock-frequency = <9200000>;
			hactive = <480>;
			vactive = <272>;
			hfront-porch = <8>;
			hback-porch = <4>;
			hsync-len = <41>;
			vback-porch = <2>;
			vfront-porch = <4>;
			vsync-len = <10>;

			hsync-active = <0>;
			vsync-active = <0>;
			de-active = <1>;
			pixelclk-active = <0>;
			};
		};
	};
};

&pwm1 {
	pinctrl-names = "default";
	pinctrl-0 = <&pinctrl_pwm1>;
	status = "okay";
};

&tsc {
	pinctrl-names = "default";
	pinctrl-0 = <&pinctrl_tsc>;
	xnur-gpio = <&gpio1 3 GPIO_ACTIVE_LOW>;
	measure-delay-time = <0xffff>;
	pre-charge-time = <0xfff>;
	status = "okay";
};

&uart1 {
	pinctrl-names = "default";
	pinctrl-0 = <&pinctrl_uart1>;
	status = "okay";
};

&uart2 {
	pinctrl-names = "default";
	pinctrl-0 = <&pinctrl_uart2>;
	fsl,uart-has-rtscts;
	/* for DTE mode, add below change */
	/* fsl,dte-mode; */
	/* pinctrl-0 = <&pinctrl_uart2dte>; */
	/delete-property/ dmas;
	/delete-property/ dma-names;
	status = "okay";
};

&usbotg1 {
	vbus-supply = <&reg_usb_otg_vbus>;
	pinctrl-names = "default";
	pinctrl-0 = <&pinctrl_usbotg>;
	disable-over-current;
	dr_mode = "otg";
	srp-disable;
	hnp-disable;
	adp-disable;
	status = "okay";
};

&usbotg2 {
	vbus-supply = <&reg_usb_host_vbus>;
	pinctrl-names = "default";
	pinctrl-0 = <&pinctrl_usbhost>;
	disable-over-current;
	dr_mode = "host";
	tpl-support;
	status = "okay";
};

&usbphy1 {
	tx-d-cal = <0x5>;
};

&usbphy2 {
	tx-d-cal = <0x5>;
};

&usdhc1 {
	pinctrl-names = "default", "state_100mhz", "state_200mhz";
	pinctrl-0 = <&pinctrl_usdhc1>;
	pinctrl-1 = <&pinctrl_usdhc1_100mhz>;
	pinctrl-2 = <&pinctrl_usdhc1_200mhz>;
	cd-gpios = <&gpio1 19 GPIO_ACTIVE_HIGH>;
	keep-power-in-suspend;
	enable-sdio-wakeup;
	vmmc-supply = <&reg_sd1_vmmc>;
	status = "okay";
};

&gpmi {
	pinctrl-names = "default";
	pinctrl-0 = <&pinctrl_gpmi_nand>;
	nand-on-flash-bbt;
	status = "okay";
};
